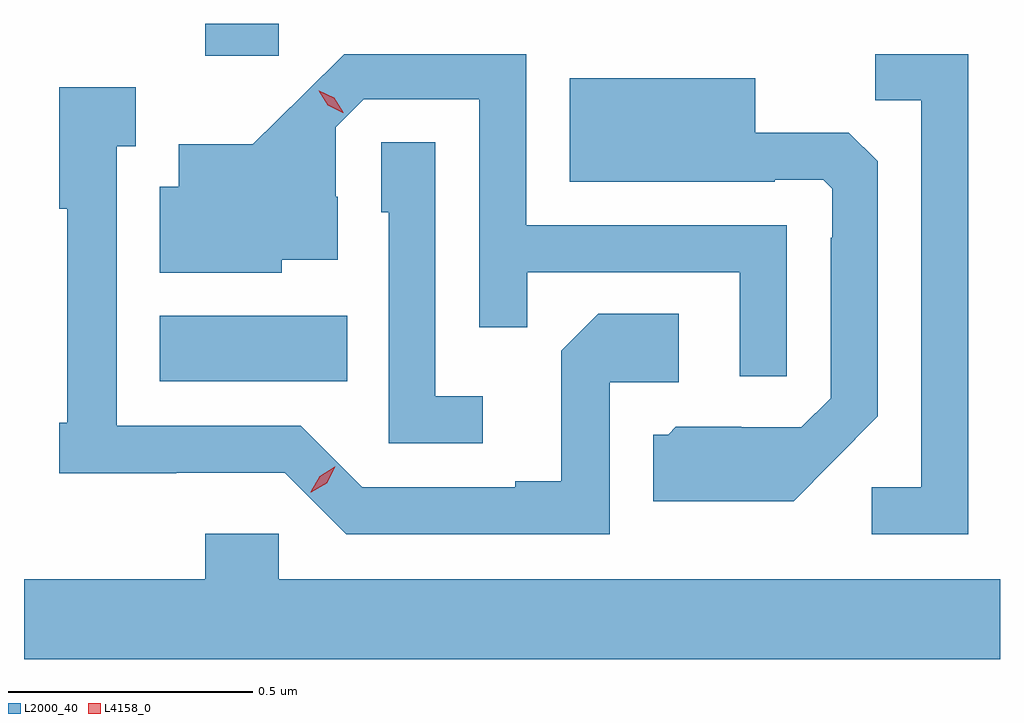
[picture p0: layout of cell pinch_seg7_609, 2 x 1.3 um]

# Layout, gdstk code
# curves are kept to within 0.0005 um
import gdstk
lib = gdstk.Library(unit=1e-6, precision=1e-09)
def R(c, l, rs):  # rectangles x0, y0, x1, y1
    for r in rs: c.add(gdstk.rectangle(r[:2], r[2:], *l))
def P(c, l, *ps):  # polygons
    for p in ps: c.add(gdstk.Polygon(p, *l))
L2000_40 = (2000, 40)
L4158_0 = (4158, 0)

pinch_seg7_609 = lib.new_cell('pinch_seg7_609')
R(pinch_seg7_609, L2000_40, [(168.23,1057.13,168.614,1057.264), (168.323,1057.797,168.474,1057.862)])
P(pinch_seg7_609, L2000_40, [(169.887,1057.8),(169.696,1057.8),(169.696,1057.705),(169.791,1057.705),(169.791,1056.912),(169.689,1056.912),(169.689,1056.816),(169.887,1056.816)],
  [(169.515,1057.449),(168.981,1057.449),(168.981,1057.8),(168.608,1057.8),(168.421,1057.615),(168.269,1057.615),(168.269,1057.528),(168.23,1057.528),(168.23,1057.352),(168.48,1057.352),(168.48,1057.379),(168.595,1057.379),(168.595,1057.508),(168.591,1057.508),(168.591,1057.65),(168.648,1057.707),(168.885,1057.707),(168.885,1057.24),(168.983,1057.24),(168.983,1057.353),(169.419,1057.353),(169.419,1057.14),(169.515,1057.14)],
  [(169.609,1056.965),(169.701,1057.058),(169.701,1057.58),(169.642,1057.639),(169.45,1057.639),(169.45,1057.75),(169.07,1057.75),(169.07,1057.538),(169.49,1057.538),(169.49,1057.542),(169.59,1057.542),(169.608,1057.524),(169.608,1057.424),(169.605,1057.424),(169.605,1057.095),(169.545,1057.035),(169.422,1057.035),(169.422,1057.036),(169.288,1057.036),(169.272,1057.02),(169.241,1057.02),(169.241,1056.884),(169.529,1056.884)],
  [(169.152,1057.128),(169.294,1057.128),(169.294,1057.268),(169.129,1057.268),(169.053,1057.192),(169.053,1056.925),(168.959,1056.925),(168.959,1056.912),(168.645,1056.912),(168.519,1057.038),(168.142,1057.038),(168.142,1057.611),(168.181,1057.611),(168.181,1057.732),(168.024,1057.732),(168.024,1057.483),(168.041,1057.483),(168.041,1057.045),(168.024,1057.045),(168.024,1056.941),(168.264,1056.941),(168.264,1056.942),(168.486,1056.942),(168.612,1056.816),(169.152,1056.816)],
  [(168.892,1057.099),(168.795,1057.099),(168.795,1057.619),(168.684,1057.619),(168.684,1057.476),(168.699,1057.476),(168.699,1057.002),(168.892,1057.002)],
  [(169.952,1056.724),(168.474,1056.724),(168.474,1056.817),(168.323,1056.817),(168.323,1056.724),(167.952,1056.724),(167.952,1056.56),(169.952,1056.56)])
P(pinch_seg7_609, L4158_0, [(168.605,1057.68),(168.574,1057.695),(168.556,1057.725),(168.556,1057.725),(168.557,1057.725),(168.588,1057.71),(168.606,1057.681),(168.606,1057.68)],
  [(168.54,1056.902),(168.54,1056.903),(168.558,1056.935),(168.589,1056.954),(168.59,1056.954),(168.59,1056.954),(168.572,1056.921),(168.541,1056.902)])

lib.write_gds('pinch_seg7_609.gds')
